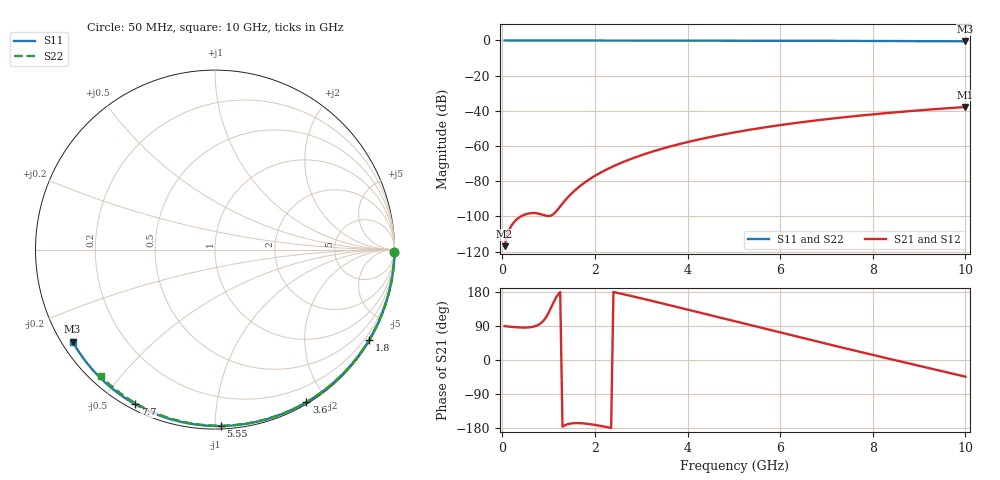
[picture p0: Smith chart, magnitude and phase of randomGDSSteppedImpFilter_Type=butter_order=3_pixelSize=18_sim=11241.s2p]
! freq	dB(S11)	phase(S11)	dB(S12)	phase(S12)
!  dB(S21)	phase(S21)	dB(S22)	phase(S22)
!S-par simulation data
#  GHz  S  DB  R 50
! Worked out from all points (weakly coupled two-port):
!   200 points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, 50 MHz to 10 GHz, reference 50 ohm
!   highest |S21| = -37.85 dB at 10 GHz (marker M1); lowest = -117.0 dB at 50 MHz (marker M2)
!   lowest |S11| = -0.5 dB at 10 GHz (marker M3), VSWR 35.12, Z = 1.55 - j14.7 ohm
!   |S11| at or under -10 dB: nowhere
!   |S22| runs from -0.4 to 0.0 dB; largest |S21 - S12| = 0
!   S11 on the Smith chart (normalised r, x): 50 MHz: open; 1.8 GHz: 0.03, -3.69; 3.6 GHz: 0.02, -1.76; 5.55 GHz: 0.02, -1.04; 7.7 GHz: 0.02, -0.61; 10 GHz: 0.03, -0.29
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0.05  -0.00 -0.9  -116.97 89.4  -116.97 89.4  -0.00 -0.8
0.45  -0.01 -7.7  -99.38 85.6  -99.38 85.6  -0.00 -6.9
0.9  -0.02 -15.3  -99.33 105.2  -99.33 105.2  -0.02 -13.7
1.3  -0.03 -22.0  -92.71 -175.8  -92.71 -175.8  -0.02 -19.7
1.75  -0.04 -29.5  -81.35 -167.3  -81.35 -167.3  -0.03 -26.3
1.8  -0.04 -30.3  -80.40 -167.9  -80.40 -167.9  -0.03 -27.1
1.85  -0.04 -31.2  -79.49 -168.6  -79.49 -168.6  -0.04 -27.8
2.05  -0.04 -34.4  -76.22 -172.3  -76.22 -172.3  -0.04 -30.7
2.2  -0.05 -36.9  -74.08 -175.6  -74.08 -175.6  -0.04 -32.9
2.55  -0.05 -42.6  -69.77 175.4  -69.77 175.4  -0.05 -38.0
2.95  -0.06 -49.0  -65.73 164.2  -65.73 164.2  -0.06 -43.8
3.4  -0.07 -56.0  -61.94 151.0  -61.94 151.0  -0.07 -50.1
3.6  -0.08 -59.1  -60.46 145.0  -60.46 145.0  -0.07 -52.9
4.3  -0.10 -69.8  -55.98 123.9  -55.98 123.9  -0.09 -62.5
5.05  -0.12 -80.8  -52.10 101.2  -52.10 101.2  -0.11 -72.6
5.55  -0.14 -88.0  -49.90 86.0  -49.90 86.0  -0.13 -79.1
6.1  -0.17 -95.7  -47.76 69.5  -47.76 69.5  -0.15 -86.0
6.7  -0.20 -104.0  -45.71 51.6  -45.71 51.6  -0.18 -93.5
7.7  -0.27 -117.3  -42.79 22.2  -42.79 22.2  -0.24 -105.6
8.35  -0.32 -125.8  -41.17 3.3  -41.17 3.3  -0.29 -113.2
9.2  -0.40 -136.8  -39.33 -21.1  -39.33 -21.1  -0.36 -123.0
10  -0.49 -147.2  -37.85 -44.0  -37.85 -44.0  -0.45 -132.0
